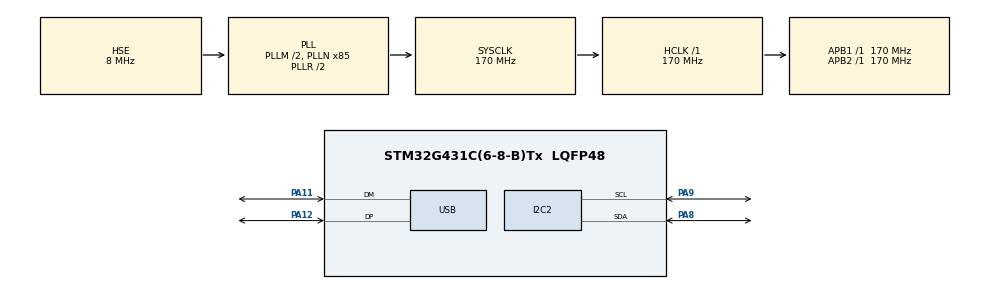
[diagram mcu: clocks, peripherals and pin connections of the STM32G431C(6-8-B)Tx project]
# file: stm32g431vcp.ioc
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FREERTOS.Tasks01=defaultTask,24,128,StartDefaultTask,Default,NULL,Dynamic,NULL,NULL
FREERTOS.configTOTAL_HEAP_SIZE=1024*10
I2C2.Timing=0x30A0A7FB
Mcu.Family=STM32G4
Mcu.Name=STM32G431C(6-8-B)Tx
Mcu.Package=LQFP48
NVIC.PriorityGroup=NVIC_PRIORITYGROUP_4
NVIC.USB_LP_IRQn=true\:5\:0\:false\:false\:true\:true\:false\:true\:true
PA11.Mode=Device
PA11.Signal=USB_DM
PA12.Mode=Device
PA12.Signal=USB_DP
PA13.Mode=Serial_Wire
PA13.Signal=SYS_JTMS-SWDIO
PA14.Mode=Serial_Wire
PA14.Signal=SYS_JTCK-SWCLK
PA8.Mode=I2C
PA8.Signal=I2C2_SDA
PA9.Mode=I2C
PA9.Signal=I2C2_SCL
PC14-OSC32_IN.Mode=LSE-External-Oscillator
PC14-OSC32_IN.Signal=RCC_OSC32_IN
PC15-OSC32_OUT.Mode=LSE-External-Oscillator
PC15-OSC32_OUT.Signal=RCC_OSC32_OUT
PF0-OSC_IN.Mode=HSE-External-Oscillator
PF0-OSC_IN.Signal=RCC_OSC_IN
PF1-OSC_OUT.Mode=HSE-External-Oscillator
PF1-OSC_OUT.Signal=RCC_OSC_OUT
ProjectManager.HeapSize=0x1000
ProjectManager.StackSize=0x400
ProjectManager.TargetToolchain=MDK-ARM V5.32
RCC.ADC12Freq_Value=170000000
RCC.AHBFreq_Value=170000000
RCC.APB1Freq_Value=170000000
RCC.APB1TimFreq_Value=170000000
RCC.APB2Freq_Value=170000000
RCC.APB2TimFreq_Value=170000000
RCC.CK48CLockSelection=RCC_USBCLKSOURCE_HSI48
RCC.CortexFreq_Value=170000000
RCC.EXTERNAL_CLOCK_VALUE=12288000
RCC.HCLKFreq_Value=170000000
RCC.HSE_VALUE=8000000
RCC.HSI48_VALUE=48000000
RCC.HSI_VALUE=16000000
RCC.PLLM=RCC_PLLM_DIV2
RCC.PLLN=85
RCC.PLLQ=RCC_PLLQ_DIV6
RCC.PLLSourceVirtual=RCC_PLLSOURCE_HSE
RCC.SYSCLKFreq_VALUE=170000000
RCC.SYSCLKSource=RCC_SYSCLKSOURCE_PLLCLK
RCC.USBFreq_Value=48000000
RCC.VCOOutputFreq_Value=340000000
USB_DEVICE.CLASS_NAME_FS=CDC
USB_DEVICE.VirtualMode=Cdc
USB_DEVICE.VirtualModeFS=Cdc_FS
VP_FREERTOS_VS_CMSIS_V2.Mode=CMSIS_V2
VP_SYS_VS_DBSignals.Mode=DisableDeadBatterySignals
VP_USB_DEVICE_VS_USB_DEVICE_CDC_FS.Mode=CDC_FS
board=custom

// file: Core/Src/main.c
/* USER CODE BEGIN Header */
/**
  ******************************************************************************
  * @file           : main.c
  * @brief          : Main program body
  ******************************************************************************
  * @attention
  *
  * Copyright (c) 2023 STMicroelectronics.
  * All rights reserved.
  *
  * This software is licensed under terms that can be found in the LICENSE file
  * in the root directory of this software component.
  * If no LICENSE file comes with this software, it is provided AS-IS.
  *
  ******************************************************************************
  */
/* USER CODE END Header */
#include "main.h"
#include "cmsis_os.h"
#include "i2c.h"
#include "usb_device.h"
#include "gpio.h"

void SystemClock_Config(void);
void MX_FREERTOS_Init(void);

int main(void)
{

  /* MCU Configuration--------------------------------------------------------*/

  /* Reset of all peripherals, Initializes the Flash interface and the Systick. */
  HAL_Init();

  /* Configure the system clock */
  SystemClock_Config();

  /* Initialize all configured peripherals */
  MX_GPIO_Init();
  MX_USB_Device_Init();
  MX_I2C2_Init();

  /* Init scheduler */
  osKernelInitialize();  /* Call init function for freertos objects (in freertos.c) */
  MX_FREERTOS_Init();

  /* Start scheduler */
  osKernelStart();

  /* We should never get here as control is now taken by the scheduler */
  /* Infinite loop */
  while (1)
  {

  }
}

void SystemClock_Config(void)
{
  RCC_OscInitTypeDef RCC_OscInitStruct = {0};
  RCC_ClkInitTypeDef RCC_ClkInitStruct = {0};

  /** Configure the main internal regulator output voltage
  */
  HAL_PWREx_ControlVoltageScaling(PWR_REGULATOR_VOLTAGE_SCALE1_BOOST);

  /** Initializes the RCC Oscillators according to the specified parameters
  * in the RCC_OscInitTypeDef structure.
  */
  RCC_OscInitStruct.OscillatorType = RCC_OSCILLATORTYPE_HSI48|RCC_OSCILLATORTYPE_HSE;
  RCC_OscInitStruct.HSEState = RCC_HSE_ON;
  RCC_OscInitStruct.HSI48State = RCC_HSI48_ON;
  RCC_OscInitStruct.PLL.PLLState = RCC_PLL_ON;
  RCC_OscInitStruct.PLL.PLLSource = RCC_PLLSOURCE_HSE;
  RCC_OscInitStruct.PLL.PLLM = RCC_PLLM_DIV2;
  RCC_OscInitStruct.PLL.PLLN = 85;
  RCC_OscInitStruct.PLL.PLLP = RCC_PLLP_DIV2;
  RCC_OscInitStruct.PLL.PLLQ = RCC_PLLQ_DIV6;
  RCC_OscInitStruct.PLL.PLLR = RCC_PLLR_DIV2;
  if (HAL_RCC_OscConfig(&RCC_OscInitStruct) != HAL_OK)
  {
    Error_Handler();
  }

  /** Initializes the CPU, AHB and APB buses clocks
  */
  RCC_ClkInitStruct.ClockType = RCC_CLOCKTYPE_HCLK|RCC_CLOCKTYPE_SYSCLK
                              |RCC_CLOCKTYPE_PCLK1|RCC_CLOCKTYPE_PCLK2;
  RCC_ClkInitStruct.SYSCLKSource = RCC_SYSCLKSOURCE_PLLCLK;
  RCC_ClkInitStruct.AHBCLKDivider = RCC_SYSCLK_DIV1;
  RCC_ClkInitStruct.APB1CLKDivider = RCC_HCLK_DIV1;
  RCC_ClkInitStruct.APB2CLKDivider = RCC_HCLK_DIV1;

  if (HAL_RCC_ClockConfig(&RCC_ClkInitStruct, FLASH_LATENCY_4) != HAL_OK)
  {
    Error_Handler();
  }
}

void Error_Handler(void)
{
  __disable_irq();
  while (1)
  {
  }
}

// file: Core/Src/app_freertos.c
/* USER CODE BEGIN Header */
/**
  ******************************************************************************
  * File Name          : app_freertos.c
  * Description        : Code for freertos applications
  ******************************************************************************
  * @attention
  *
  * Copyright (c) 2023 STMicroelectronics.
  * All rights reserved.
  *
  * This software is licensed under terms that can be found in the LICENSE file
  * in the root directory of this software component.
  * If no LICENSE file comes with this software, it is provided AS-IS.
  *
  ******************************************************************************
  */
/* USER CODE END Header */

#include "FreeRTOS.h"
#include "task.h"
#include "main.h"
#include "cmsis_os.h"

/* USER CODE BEGIN Includes */
#include "usbd_cdc_if.h"
#include "commun.h"
#include "ringQueue.h"
/* USER CODE END Includes */

/* Definitions for defaultTask */
osThreadId_t defaultTaskHandle;
const osThreadAttr_t defaultTask_attributes = {
  .name = "defaultTask",
  .priority = (osPriority_t) osPriorityNormal,
  .stack_size = 128 * 4
};

void StartDefaultTask(void *argument);

void MX_FREERTOS_Init(void); /* (MISRA C 2004 rule 8.1) */

void MX_FREERTOS_Init(void) {

  /* Create the thread(s) */
  /* creation of defaultTask */
  defaultTaskHandle = osThreadNew(StartDefaultTask, NULL, &defaultTask_attributes);

  /* USER CODE BEGIN RTOS_EVENTS */
  usartCommunInit();
  /* add events, ... */
  /* USER CODE END RTOS_EVENTS */

}

/* USER CODE BEGIN Header_StartDefaultTask */
/**
  * @brief  Function implementing the defaultTask thread.
  * @param  argument: Not used
  * @retval None
  */
//#define USB_MAX_RECEIVE_LEN 4096
//uint8_t rxData[USB_MAX_RECEIVE_LEN] = {0};
uint32_t rxLen = 0;
#include "mpu6050.h"
/* USER CODE END Header_StartDefaultTask */

void StartDefaultTask(void *argument)
{
  /* USER CODE BEGIN StartDefaultTask */
  /* Infinite loop */
//	uint8_t buf[60] = { 0xFF,0xFF,0x07,0x23,0x31,0x00,0x00,0x9F,0x02,0xFC,0xFF,0xFF,0x07,0x23,0x31,0x00,0x00,0x9F,0x02,0xFC,
//						0xFF,0xFF,0x07,0x23,0x31,0x00,0x00,0x9F,0x02,0xFC,0xFF,0xFF,0x07,0x23,0x31,0x00,0x00,0x9F,0x02,0xFC,
//						0xFF,0xFF,0x07,0x23,0x31,0x00,0x00,0x9F,0x02,0xFC,0xFF,0xFF,0x07,0x23,0x31,0x00,0x00,0x9F,0x02,0xFC	};
////	xRingQueueInit(&usartQueue);
	while(1){

		vTaskDelay(1);
	}

	MPU_Init();
	mpu_dmp_init();
	for(;;)
	{
//		uint8_t buf[25];
//		sprintf((char *)buf,"size = %d \r\n",usartQueue.size);
//		CDC_Transmit_FS((uint8_t *)buf, strlen((char *)buf));
//
//		uint8_t data[QUE_PKG_MAXLEN];
//		int len = xRingQueueRead(&usartQueue, data);
//		if(len > 0){
//			CDC_Transmit_FS(data, len);//通过usb虚拟串口发送回去
//		}

		mpu_dmp_get_data(&imu.pitch, &imu.roll, &imu.yaw);
//		MPU_Get_Gyroscope(&imu.gy.x, &imu.gy.y, &imu.gy.z);
		short x,y,z;
		MPU_Get_Accelerometer(&x, &y, &z);
		imu.aa.x = x;
		imu.aa.y = y;
		imu.aa.z = z;
//
//		imu.gy.x = (float)imu.gy.x * mpu6050_get_gyro_res(3);
//		imu.gy.y = (float)imu.gy.y * mpu6050_get_gyro_res(3);
//		imu.gy.z = (float)imu.gy.z * mpu6050_get_gyro_res(3);

		//加速度计转换到米每平方秒
		imu.aa.x = (float)imu.aa.x * mpu6050_get_accel_res(0) * 9.80f * 1.0f;
		imu.aa.y = (float)imu.aa.y * mpu6050_get_accel_res(0) * 9.80f * 1.0f;
		imu.aa.z = (float)imu.aa.z * mpu6050_get_accel_res(0) * 9.80f * 1.0f;

		dmpGetGravity(&imu.gravity, &imu.q);

		dmpGetLinearAccel(&imu.aaReal, &imu.aa, &imu.gravity);

		dmpGetLinearAccelInWord(&imu.aaWorld, &imu.aaReal, &imu.q);

		imu.pos.x += 0.5f * imu.aaWorld.x * 0.005f*0.005f * 1000;
		imu.pos.y += 0.5f * imu.aaWorld.y * 0.005f*0.005f * 1000;

		osDelay(5);
	}
  /* USER CODE END StartDefaultTask */
}
